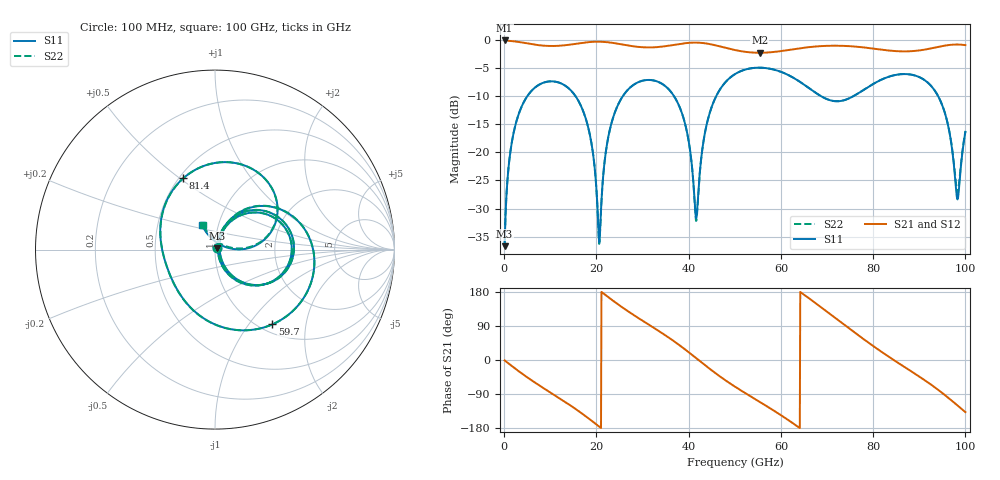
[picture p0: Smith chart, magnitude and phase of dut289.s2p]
! Touchstone file exported from HFSS 2026.1.0
!  File:  C:/ffzhzh/LocalFiles/Ansys_Project_Files/temp_train_TSV_RDL_289_1783680555_26216.aedt
!  Generated:  06:56:24 PM Jul 10, 2026
!  Design:  TSV_RDL
!  Project:  temp_train_TSV_RDL_289_1783680555_26216
! Variables:
!  h_bsmrdl = 3.17um
!  h_ox = 20um
!  h_rdl = 5um
!  h_sub = 53.45um
!  h_tmrdl = 2.78um
!  h_tsv = 53.45um
!  h_via = 3um
!  l_bsmrdl = 604.71um
!  l_sub = 2997.1um
!  l_tmrdl = 156.78um
!  m_sub = 200um
!  pitch = 49.67um
!  r_tsv = 14.74um
!  s_tmrdl = 10um
!  w_bsmrdl = 26.45um
!  w_sub = 500um
!  w_tmrdl = 25.5um
!  x_tsv_center1 = 169.53um
!  x_tsv_center2 = 800.69um
!  x_tsv_center3 = 982.97um
!  x_tsv_center4 = 1614.13um
!  x_tsv_center5 = 1796.41um
!  x_tsv_center6 = 2427.57um
# GHz S MA R 50.000000
! Terminal data exported
! Port[1] = TM_RDL1_1_T1
! Port[2] = TM_RDL5_1_T1
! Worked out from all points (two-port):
!   1000 points, 100 MHz to 100 GHz, reference 50 ohm
!   highest |S21| = -0.10 dB at 100 MHz (marker M1); lowest = -2.3 dB at 55.4 GHz (marker M2)
!   |S21| within 3 dB of the highest: start of sweep to end of sweep
!   lowest |S11| = -36.7 dB at 100 MHz (marker M3), VSWR 1.03, Z = 51.2 + j0.852 ohm
!   |S11| at or under -10 dB: 15.46 GHz to 25.74 GHz (10.27 GHz wide, 49.9 % of centre); 36.82 GHz to 45.98 GHz (9.159 GHz wide, 22.1 % of centre); 68.68 GHz to 75.75 GHz (7.069 GHz wide, 9.79 % of centre) (the widest 3 of 5)
!   |S22| runs from -36.7 to -4.9 dB; largest |S21 - S12| = 6.6e-14
!   S11 on the Smith chart (normalised r, x): 100 MHz: 1.02, +0.02; 59.7 GHz: 1.14, -1.31; 81.4 GHz: 0.53, +0.52; 100 GHz: 0.84, +0.23
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0.1  0.01465 34.6  0.988 -1.0  0.988 -1.0  0.01465 34.6
! Gamma 0 0 0 0
! Port Impedance 50 0 50 0
1.7  0.1254 66.2  0.9756 -16.2  0.9756 -16.2  0.1254 66.2
4.9  0.3104 41.8  0.9315 -44.8  0.9315 -44.8  0.3104 41.8
11.1  0.4249 -5.6  0.8831 -94.0  0.8831 -94.0  0.4249 -5.6
16.8  0.251 -49.6  0.9389 -140.6  0.9389 -140.6  0.2509 -49.7
19  0.1157 -64.9  0.9598 -160.6  0.9598 -160.6  0.1156 -65.2
20.6  0.01585 -5.6  0.9634 -175.6  0.9634 -175.6  0.01533 -5.7
24.4  0.2489 54.8  0.9277 149.4  0.9277 149.4  0.249 54.9
33.4  0.4234 -12.7  0.864 77.5  0.864 77.5  0.4234 -12.7
38.8  0.2071 -53.3  0.9292 31.9  0.9292 31.9  0.207 -53.5
41.6  0.026 -2.8  0.9457 5.2  0.9457 5.2  0.02455 -3.3
44.5  0.2194 59.7  0.9187 -22.7  0.9187 -22.7  0.2192 60.2
50.1  0.4976 16.8  0.8109 -70.8  0.8109 -70.8  0.4976 17.0
55.4  0.5659 -21.1  0.7682 -110.5  0.7682 -110.5  0.5659 -20.9
59.7  0.5253 -52.4  0.7915 -143.2  0.7915 -143.2  0.5254 -52.4
66.7  0.3576 -110.1  0.8669 157.4  0.8669 157.4  0.3576 -110.4
73.9  0.2923 -177.7  0.8834 91.6  0.8834 91.6  0.2925 -178.4
81.4  0.4352 114.0  0.8223 25.1  0.8223 25.1  0.4355 113.6
83.4  0.4704 97.6  0.8041 8.5  0.8041 8.5  0.4706 97.4
93.7  0.3368 18.8  0.859 -75.1  0.859 -75.1  0.3372 19.4
98.2  0.03888 48.7  0.9095 -119.1  0.9095 -119.1  0.04453 50.1
100  0.1522 117.6  0.8974 -137.5  0.8974 -137.5  0.1538 115.4
